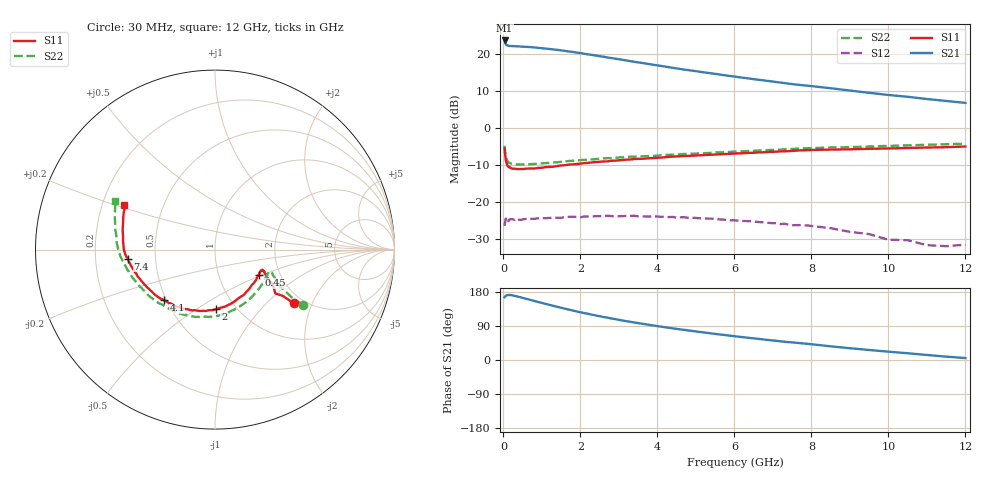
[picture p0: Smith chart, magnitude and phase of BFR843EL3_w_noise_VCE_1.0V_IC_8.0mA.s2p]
! Infineon Technologies  Discrete & RF Semiconductors
! BFR843EL3
! VCE =  1.0 V,  IC =  8.0 mA
! Common Emitter S-Parameters:  Aug 2013
# GHz  S  MA  R  50
!  f  S11  S21  S12  S22
! GHz  MAG  ANG  MAG  ANG  MAG  ANG  MAG  ANG
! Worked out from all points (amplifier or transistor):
!   103 points, 30 MHz to 12 GHz, reference 50 ohm
!   highest |S21| = 23.7 dB at 30 MHz (marker M1)
!   |S21| within 3 dB of that: start of sweep to 1.72 GHz
!   unconditionally stable (mu >= 1): 5.962 GHz to end of sweep
!   at 400 MHz: K = 0.99, MSG = 23.4 dB, |S12| = -24.7 dB
!   at 3.7 GHz: K = 0.81, MSG = 20.7 dB, |S12| = -23.9 dB
!   at 12 GHz: K = 3.54, MAG = 10.7 dB, |S12| = -31.5 dB
!   lowest NFmin = 0.89 dB at 450 MHz
!   S11 on the Smith chart (normalised r, x): 30 MHz: 1.77, -1.49; 450 MHz: 1.55, -0.48; 2 GHz: 0.81, -0.60; 4.1 GHz: 0.48, -0.33; 7.4 GHz: 0.34, -0.05; 12 GHz: 0.29, +0.21
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0.03  0.5327 -34.3  15.28 165.8  0.0478 30.6  0.5794 -32.2
0.04  0.4586 -34.3  14.46 166.9  0.0528 26.2  0.5039 -31.9
0.06  0.373 -30.7  13.6 169.0  0.0602 17.0  0.4186 -29.6
0.09  0.3251 -27.6  13.18 170.9  0.0583 11.4  0.3705 -25.5
0.15  0.3001 -23.9  12.9 171.7  0.0582 5.1  0.3412 -22.0
0.25  0.2829 -23.8  12.81 170.2  0.0587 5.8  0.3276 -21.8
0.45  0.2809 -30.1  12.64 165.4  0.0575 3.9  0.3227 -28.7
0.8  0.2847 -44.2  12.3 155.8  0.0595 3.6  0.3286 -43.3
1.2  0.2996 -61.7  11.73 145.3  0.0613 2.7  0.3405 -60.7
1.6  0.3166 -75.9  11.04 135.4  0.0634 2.0  0.3535 -75.4
2  0.332 -89.5  10.32 126.0  0.0626 0.9  0.3706 -89.2
2.1  0.3382 -92.5  10.1 123.8  0.0643 0.2  0.3734 -92.4
2.6  0.355 -106.7  9.214 113.5  0.0653 -2.0  0.3904 -106.1
3  0.368 -115.7  8.516 106.0  0.0645 -3.5  0.4014 -115.4
3.5  0.3853 -125.7  7.728 97.4  0.0644 -6.0  0.4149 -125.7
4.1  0.401 -135.4  6.908 87.9  0.0635 -9.5  0.4301 -135.5
5.1  0.4297 -149.9  5.774 74.0  0.0606 -11.9  0.4558 -150.0
6.1  0.457 -161.4  4.892 61.7  0.0563 -16.4  0.4858 -161.2
7.4  0.4891 -174.1  3.995 47.2  0.0499 -17.6  0.5209 -173.7
8.5  0.5137 175.3  3.459 36.1  0.0446 -20.2  0.5485 176.2
10.5  0.5398 161.4  2.653 17.8  0.0307 -11.3  0.5863 162.2
12  0.5653 153.7  2.194 5.1  0.0267 18.1  0.6172 154.1
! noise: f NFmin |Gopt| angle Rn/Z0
0.45  0.89  0.09  34  0.12
0.9  0.9  0.1  48  0.12
1.5  0.92  0.11  60  0.13
1.9  0.94  0.11  65  0.13
2.4  0.96  0.12  79  0.12
3.5  0.99  0.13  96  0.12
5.5  1.05  0.18  132  0.11
8  1.12  0.28  170  0.07
10  1.18  0.4  209  0.06
